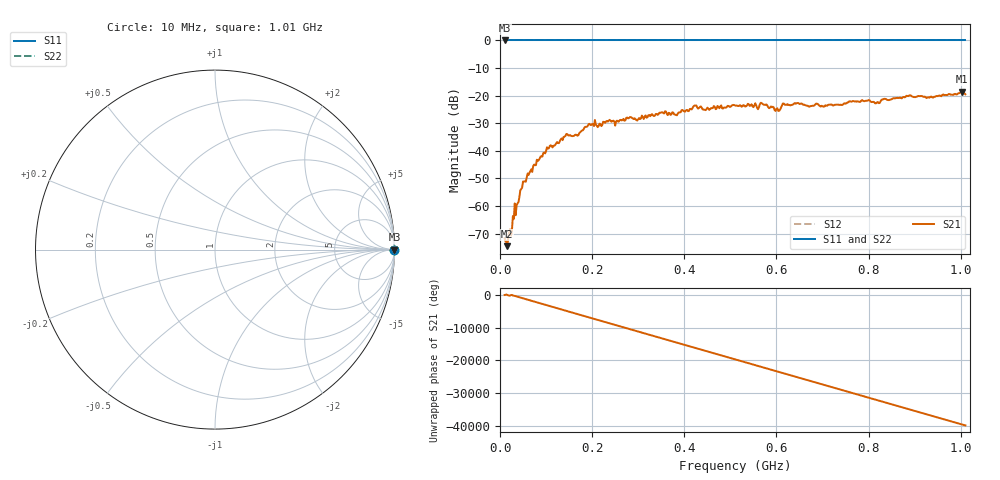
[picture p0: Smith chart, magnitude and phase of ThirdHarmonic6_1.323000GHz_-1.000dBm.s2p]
! 8/16/2025 2:43:55 PM
! C:\ANRITSUVNA\TEMP\TEMP.S2P
! CHANNEL.1
! TR.MEASUREMENT
! RAW.DATA
! RF.CORRECTION.OFF
! AVERAGING.OFF
! IF.BANDWIDTH: 5KHZ
! SWEEPTYPE:  FREQ.SWEEP(Linear)
! Reference Plane Port Info
! PORT:  PORT1  PORT2
! DISTANCE:  0  m  0  m
! TIME:  0  s  0  s
! PHASE.OFFSET:  0  deg.  0  deg.
! LOSS:  0  dB  0  dB
! REF.LOSS:  0  dB  0  dB
! REF.FREQ:  0  Hz  0  Hz
! Power Info
! POWER:  -20  dBm  -20  dBm
! EFF.POWER:  -20  dBm  -20  dBm
! SOURCE.ATTEN:  0  dB  0  dB
! TEST.ATTEN:  0  dB  0  dB
# GHZ S RI R 50.0
! FREQ.GHZ  S11RE  S11IM  S21RE  S21IM  S12RE  S12IM  S22RE  S22IM
!; PortSelection: Port_12
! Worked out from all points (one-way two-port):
!   501 points, 10 MHz to 1.01 GHz, reference 50 ohm
!   highest |S21| = -18.59 dB at 1.002 GHz (marker M1); lowest = -74.5 dB at 16 MHz (marker M2)
!   lowest |S11| = 0.0 dB at 10 MHz (marker M3)
!   |S11| at or under -10 dB: nowhere
!   |S22| runs from 0.0 to 0.0 dB; largest |S21 - S12| = 1.1
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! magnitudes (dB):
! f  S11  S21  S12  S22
! 10 MHz  0.0  -71.6  0.0  0.0
! 16 MHz  0.0  -74.5  0.0  0.0
! 22 MHz  0.0  -68.5  0.0  0.0
! 32 MHz  0.0  -59.1  0.0  0.0
! 48 MHz  0.0  -53.3  0.0  0.0
! 76 MHz  0.0  -45.2  0.0  0.0
! 106 MHz  0.0  -39.1  0.0  0.0
! 142 MHz  0.0  -34.6  0.0  0.0
! 178 MHz  0.0  -32.6  0.0  0.0
! 196 MHz  0.0  -30.6  0.0  0.0
! 344 MHz  0.0  -26.7  0.0  0.0
! 382 MHz  0.0  -26.9  0.0  0.0
! 422 MHz  0.0  -23.6  0.0  0.0
! 444 MHz  0.0  -25.1  0.0  0.0
! 510 MHz  0.0  -23.5  0.0  0.0
! 570 MHz  0.0  -23.0  0.0  0.0
! 602 MHz  0.0  -24.6  0.0  0.0
! 618 MHz  0.0  -23.3  0.0  0.0
! 678 MHz  0.0  -23.7  0.0  0.0
! 844 MHz  0.0  -21.6  0.0  0.0
! 1.002 GHz  0.0  -18.6  0.0  0.0
! 1.01 GHz  0.0  -19.5  0.0  0.0
